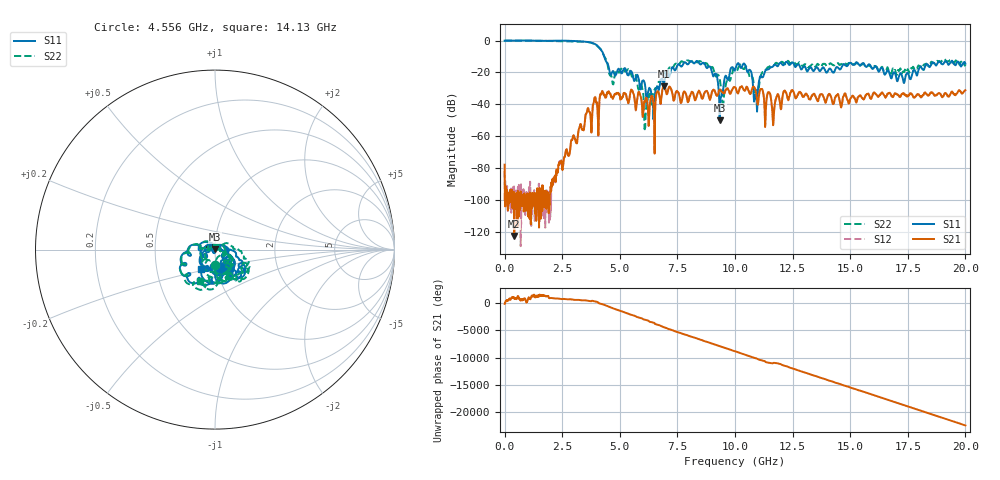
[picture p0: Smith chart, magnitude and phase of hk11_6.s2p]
#  HZ  S  RI  R  50.00
! Rohde & Schwarz Vector Network Analyzer
! Rohde-Schwarz,ZNB20-2Port,1311601062102128,3.60
! Created: UTC 4/29/2024, 3:47:13 PM
! freq[Hz]  re:S11  im:S11  re:S21  im:S21  re:S12  im:S12  re:S22  im:S22
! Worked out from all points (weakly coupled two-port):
!   2007 points, 100 kHz to 20 GHz, reference 50 ohm
!   highest |S21| = -28.71 dB at 6.919 GHz (marker M1); lowest = -122.7 dB at 418.8 MHz (marker M2)
!   lowest |S11| = -50.2 dB at 9.332 GHz (marker M3), VSWR 1.01, Z = 49.8 + j0.238 ohm
!   |S11| at or under -10 dB: 4.327 GHz to end of sweep
!   |S22| runs from -55.7 to 0.1 dB; largest |S21 - S12| = 0.0018
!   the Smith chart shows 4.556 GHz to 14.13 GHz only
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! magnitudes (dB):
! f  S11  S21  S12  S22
! 100 kHz  0.0  -77.9  -82.1  0.1
! 418.8 MHz  0.0  -122.7  -98.6  0.0
! 2.233 GHz  0.0  -82.7  -84.8  -0.3
! 3.34 GHz  -0.6  -55.2  -54.9  -0.6
! 4.237 GHz  -6.9  -31.7  -31.6  -7.2
! 4.656 GHz  -20.1  -35.1  -35.3  -23.6
! 5.643 GHz  -25.1  -37.3  -37.3  -21.4
! 6.122 GHz  -31.3  -36.4  -36.4  -46.3
! 6.67 GHz  -30.1  -31.9  -32.0  -26.2
! 6.919 GHz  -26.6  -28.7  -28.8  -20.1
! 8.375 GHz  -12.9  -33.0  -32.9  -13.7
! 9.163 GHz  -20.9  -33.2  -33.2  -22.3
! 9.332 GHz  -50.2  -31.0  -30.9  -23.2
! 9.502 GHz  -28.1  -33.1  -33.0  -38.3
! 10 GHz  -18.6  -29.3  -29.3  -17.7
! 10.66 GHz  -18.6  -33.2  -33.2  -23.4
! 10.9 GHz  -33.9  -31.6  -31.7  -34.0
! 11.67 GHz  -15.9  -51.4  -51.9  -15.4
! 12.15 GHz  -14.5  -31.4  -31.4  -14.9
! 13.34 GHz  -17.9  -34.5  -34.5  -14.9
! 16.67 GHz  -19.1  -32.9  -33.0  -18.9
! 20 GHz  -14.5  -31.2  -31.3  -15.2
